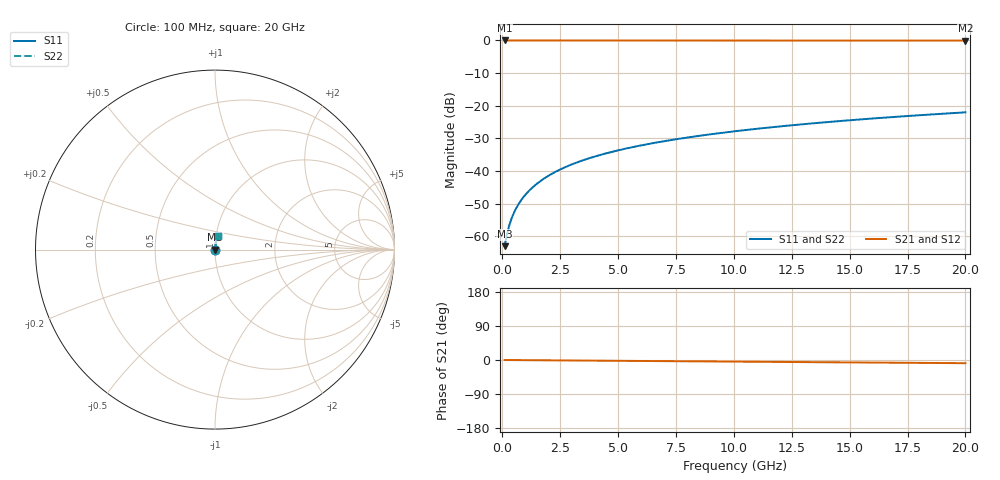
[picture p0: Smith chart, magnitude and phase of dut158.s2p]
! Touchstone file exported from HFSS 2026.1.0
!  File:  C:/ffzhzh/LocalFiles/Ansys_Project_Files/temp_train_TMRDL_158_1782983265_40604.aedt
!  Generated:  05:08:54 PM Jul  2, 2026
!  Design:  TMRDL
!  Project:  temp_train_TMRDL_158_1782983265_40604
! Variables:
!  h_bsmrdl = 2um
!  h_ox = 20um
!  h_rdl = 5um
!  h_sub = 80um
!  h_tmrdl = 5.58um
!  h_tsv = 80um
!  h_via = 3um
!  l_bsmrdl = 300um
!  l_sub = 504.62um
!  l_tmrdl = 104.62um
!  m_sub = 200um
!  pitch = 35.75um
!  r_tsv = 6um
!  s_tmrdl = 10um
!  w_bsmrdl = 18um
!  w_sub = 500um
!  w_tmrdl = 16.16um
!  x_tsv_center1 = 112.7um
!  x_tsv_center2 = 430.7um
!  x_tsv_center3 = 551.48um
!  x_tsv_center4 = 869.48um
!  x_tsv_center5 = 990.26um
!  x_tsv_center6 = 1308.26um
# GHz S MA R 50.000000
! Terminal data exported
! Port[1] = TM_RDL1_1_T1
! Port[2] = TM_RDL1_1_T2
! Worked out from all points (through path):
!   200 points, 100 MHz to 20 GHz, reference 50 ohm
!   highest |S21| = 0.00 dB at 100 MHz (marker M1); lowest = -0.1 dB at 20 GHz (marker M2)
!   group delay of S21, straight-line fit = 1.17 ps
!   lowest |S11| = -63.0 dB at 100 MHz (marker M3), VSWR 1.00, Z = 50.1 + j0.0461 ohm
!   |S11| at or under -10 dB: start of sweep to end of sweep
!   |S22| runs from -63.0 to -22.0 dB; largest |S21 - S12| = 3.6e-15
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0.1  0.0007048 40.8  0.9995 -0.0  0.9995 -0.0  0.0007048 40.8
! Gamma 0 0 0 0
! Port Impedance 50 0 50 0
0.2  0.001067 58.4  0.9994 -0.1  0.9994 -0.1  0.001067 58.4
0.3  0.001466 66.3  0.9994 -0.1  0.9994 -0.1  0.001466 66.3
0.4  0.001871 70.8  0.9994 -0.2  0.9994 -0.2  0.001871 70.8
0.5  0.002277 73.7  0.9994 -0.2  0.9994 -0.2  0.002277 73.7
0.6  0.002685 75.8  0.9993 -0.3  0.9993 -0.3  0.002685 75.8
0.8  0.003505 78.6  0.9993 -0.4  0.9993 -0.4  0.003505 78.6
1.1  0.004743 80.9  0.9993 -0.5  0.9993 -0.5  0.004743 80.9
1.5  0.006403 82.6  0.9992 -0.7  0.9992 -0.7  0.006403 82.6
1.8  0.007649 83.3  0.9992 -0.8  0.9992 -0.8  0.007649 83.3
2.1  0.008892 83.7  0.9991 -0.9  0.9991 -0.9  0.008892 83.7
2.7  0.01137 84.2  0.999 -1.2  0.999 -1.2  0.01137 84.2
3.5  0.01465 84.3  0.9988 -1.5  0.9988 -1.5  0.01465 84.3
4.2  0.01749 84.3  0.9987 -1.8  0.9987 -1.8  0.01749 84.3
5  0.0207 84.2  0.9985 -2.2  0.9985 -2.2  0.0207 84.2
5.9  0.02429 84.0  0.9982 -2.5  0.9982 -2.5  0.02429 84.0
6.8  0.02786 83.8  0.998 -2.9  0.998 -2.9  0.02786 83.8
8.3  0.03377 83.4  0.9976 -3.5  0.9976 -3.5  0.03377 83.4
10.1  0.04082 82.9  0.9972 -4.3  0.9972 -4.3  0.04082 82.9
13.4  0.05367 81.8  0.9962 -5.7  0.9962 -5.7  0.05367 81.8
16.7  0.06644 80.7  0.9952 -7.1  0.9952 -7.1  0.06644 80.7
20  0.07911 79.5  0.994 -8.4  0.994 -8.4  0.07911 79.5
